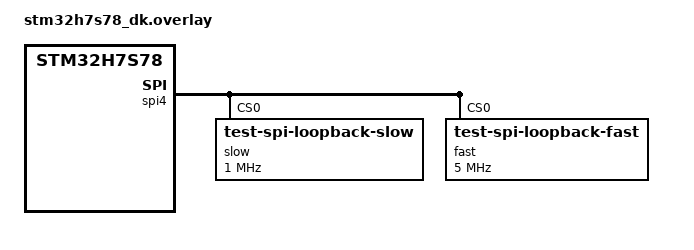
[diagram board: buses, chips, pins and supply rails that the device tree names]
/*
 * Copyright (c) 2026 STMicroelectronics
 *
 * SPDX-License-Identifier: Apache-2.0
 */

&sram2 {
	zephyr,memory-attr = <DT_MEM_ARM(ATTR_MPU_RAM_NOCACHE)>;
	status = "okay";
};

&spi4 {
	dmas = <&hpdma1 0 7 STM32_DMA_PERIPH_TX>,
	       <&hpdma1 1 6 STM32_DMA_PERIPH_RX>;
	dma-names = "tx", "rx";
	fifo-enable;

	slow@0 {
		compatible = "test-spi-loopback-slow";
		reg = <0>;
		spi-max-frequency = <1000000>;
	};

	fast@0 {
		compatible = "test-spi-loopback-fast";
		reg = <0>;
		spi-max-frequency = <5000000>;
	};
};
